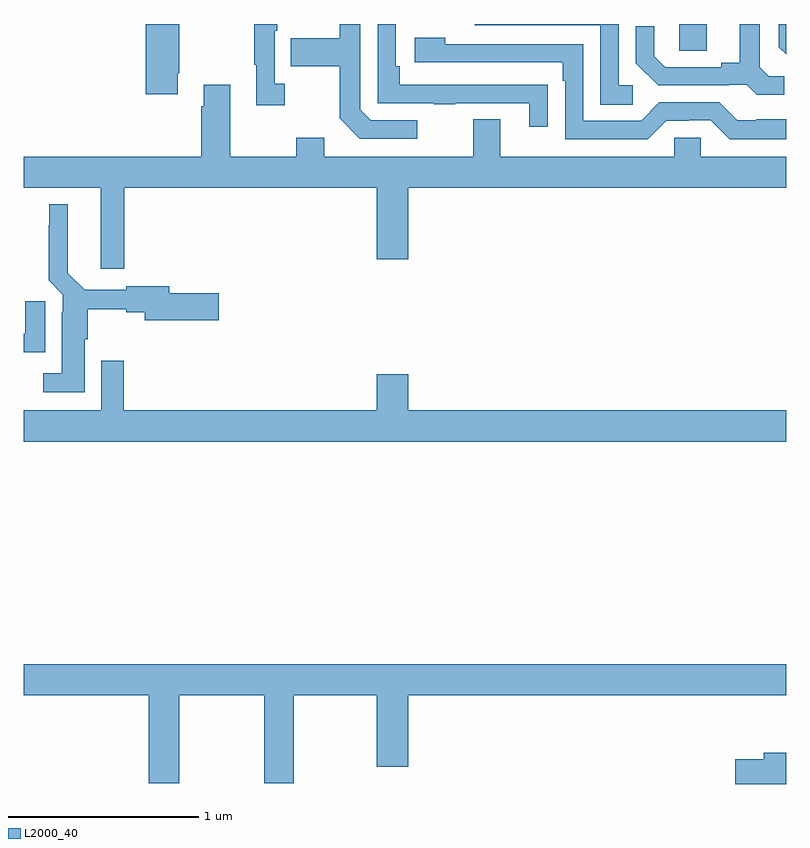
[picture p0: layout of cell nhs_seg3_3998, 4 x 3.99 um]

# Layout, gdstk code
import gdstk
lib = gdstk.Library(unit=1e-6, precision=1e-09)
def R(c, l, rs):  # rectangles x0, y0, x1, y1
    for r in rs: c.add(gdstk.rectangle(r[:2], r[2:], *l))
def P(c, l, *ps):  # polygons
    for p in ps: c.add(gdstk.Polygon(p, *l))
L2000_40 = (2000, 40)

nhs_seg3_3998 = lib.new_cell('nhs_seg3_3998')
R(nhs_seg3_3998, L2000_40, [(322.44,744.259,322.585,744.4)])
P(nhs_seg3_3998, L2000_40, [(320.368,744.086),(320.316,744.086),(320.316,744.365),(320.329,744.365),(320.329,744.4),(320.208,744.4),(320.208,744.185),(320.219,744.185),(320.219,743.973),(320.368,743.973)],
  [(322.99,744.126),(322.908,744.126),(322.861,744.173),(322.861,744.4),(322.757,744.4),(322.757,744.197),(322.661,744.197),(322.661,744.174),(322.366,744.174),(322.309,744.231),(322.309,744.388),(322.212,744.388),(322.212,744.194),(322.328,744.078),(322.7,744.078),(322.7,744.081),(322.794,744.081),(322.846,744.029),(322.99,744.029)],
  [(322.195,744.078),(322.122,744.078),(322.122,744.4),(321.367,744.4),(321.367,744.393),(322.026,744.393),(322.026,743.977),(322.195,743.977)],
  [(321.749,744.08),(321.647,744.08),(321.647,744.081),(320.972,744.081),(320.972,744.178),(320.952,744.178),(320.952,744.4),(320.856,744.4),(320.856,743.985),(321.151,743.985),(321.151,743.98),(321.263,743.98),(321.263,743.985),(321.653,743.985),(321.653,743.862),(321.749,743.862)],
  [(323,744.4),(322.962,744.4),(322.962,744.278),(323,744.24)],
  [(319.807,744.142),(319.815,744.142),(319.815,744.4),(319.64,744.4),(319.64,744.03),(319.807,744.03)],
  [(321.064,743.895),(320.82,743.895),(320.766,743.949),(320.766,744.4),(320.658,744.4),(320.658,744.325),(320.401,744.325),(320.401,744.178),(320.658,744.178),(320.658,743.905),(320.763,743.799),(321.064,743.799)],
  [(323,743.899),(322.843,743.899),(322.843,743.895),(322.743,743.895),(322.65,743.988),(322.335,743.988),(322.239,743.892),(321.936,743.892),(321.936,744.294),(321.212,744.294),(321.212,744.328),(321.051,744.328),(321.051,744.198),(321.827,744.198),(321.827,744.101),(321.84,744.101),(321.84,743.796),(322.275,743.796),(322.371,743.892),(322.49,743.892),(322.49,743.895),(322.605,743.895),(322.705,743.795),(323,743.795)],
  [(319.526,743.54),(320.852,743.54),(320.852,743.166),(321.016,743.166),(321.016,743.54),(323,743.54),(323,743.704),(322.551,743.704),(322.551,743.802),(322.413,743.802),(322.413,743.704),(321.499,743.704),(321.499,743.899),(321.359,743.899),(321.359,743.704),(320.575,743.704),(320.575,743.803),(320.428,743.803),(320.428,743.704),(320.083,743.704),(320.083,744.082),(319.943,744.082),(319.943,743.969),(319.931,743.969),(319.931,743.704),(319,743.704),(319,743.54),(319.403,743.54),(319.403,743.115),(319.526,743.115)],
  [(319.318,742.746),(319.336,742.746),(319.336,742.903),(319.538,742.903),(319.538,742.888),(319.634,742.888),(319.634,742.846),(320.023,742.846),(320.023,742.988),(319.762,742.988),(319.762,743.024),(319.538,743.024),(319.538,743.004),(319.318,743.004),(319.231,743.092),(319.231,743.455),(319.133,743.455),(319.133,743.345),(319.129,743.345),(319.129,743.054),(319.203,742.98),(319.203,742.886),(319.199,742.886),(319.199,742.567),(319.101,742.567),(319.101,742.466),(319.318,742.466)],
  [(319.111,742.945),(319.007,742.945),(319.007,742.773),(319,742.773),(319,742.677),(319.111,742.677)],
  [(323,742.372),(321.016,742.372),(321.016,742.561),(320.852,742.561),(320.852,742.372),(319.523,742.372),(319.523,742.633),(319.407,742.633),(319.407,742.372),(319,742.372),(319,742.208),(323,742.208)],
  [(319.815,740.876),(320.26,740.876),(320.26,740.415),(320.415,740.415),(320.415,740.876),(320.852,740.876),(320.852,740.502),(321.016,740.502),(321.016,740.876),(323,740.876),(323,741.04),(319,741.04),(319,740.876),(319.655,740.876),(319.655,740.415),(319.815,740.415)],
  [(323,740.575),(322.883,740.575),(322.883,740.541),(322.734,740.541),(322.734,740.411),(323,740.411)])

lib.write_gds('nhs_seg3_3998.gds')
